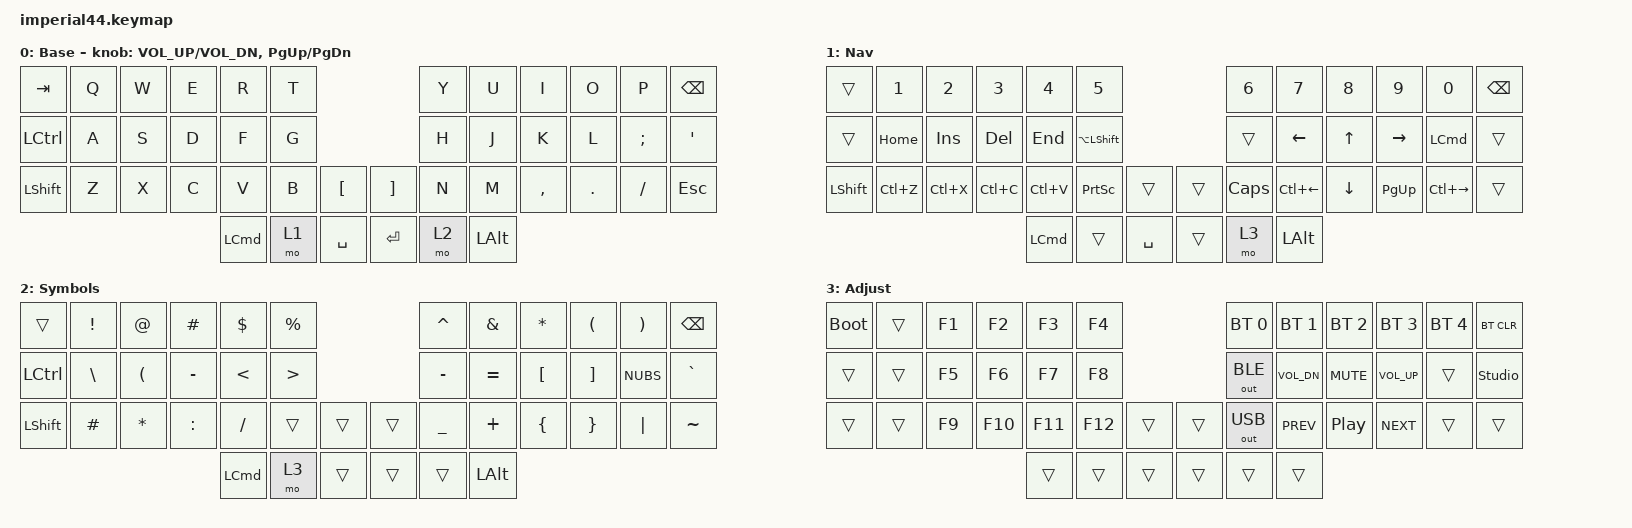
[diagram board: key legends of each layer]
#include "keys_ru.h"
#include <behaviors.dtsi>
#include <dt-bindings/zmk/bt.h>
#include <dt-bindings/zmk/keys.h>
#include <dt-bindings/zmk/outputs.h>

/ {
    keymap {
        compatible = "zmk,keymap";

        base {
            bindings = <
&kp TAB           &kp Q  &kp W  &kp E  &kp R             &kp T                          &kp Y  &kp U     &kp I      &kp O    &kp P     &kp BACKSPACE
&kp LEFT_CONTROL  &kp A  &kp S  &kp D  &kp F             &kp G                          &kp H  &kp J     &kp K      &kp L    &kp SEMI  &kp APOS
&kp LSHFT         &kp Z  &kp X  &kp C  &kp V             &kp B  &kp LBKT     &kp RBKT   &kp N  &kp M     &kp COMMA  &kp DOT  &kp FSLH  &kp ESC
                                       &kp LEFT_COMMAND  &mo 1  &kp SPACE    &kp ENTER  &mo 2  &kp LALT
            >;

            display-name = "Base";
            sensor-bindings =
                <&inc_dec_kp C_VOL_UP C_VOL_DN>,
                <&inc_dec_kp PG_UP PG_DN>;
        };

        nav {
            bindings = <
&trans          &kp N1     &kp N2     &kp N3      &kp N4            &kp N5                                &kp N6        &kp N7        &kp N8          &kp N9           &kp N0            &kp BACKSPACE
&trans          &kp HOME   &kp INS    &kp DELETE  &kp END           &kp LA(LSHFT)                         &trans        &kp LEFT      &kp UP          &kp RIGHT_ARROW  &kp LEFT_COMMAND  &trans
&kp LEFT_SHIFT  &kp LC(Z)  &kp LC(X)  &kp LC(C)   &kp LC(V)         &kp PRINTSCREEN  &trans       &trans  &kp CAPSLOCK  &kp LC(LEFT)  &kp DOWN_ARROW  &kp PG_UP        &kp LC(RIGHT)     &trans
                                                  &kp LEFT_COMMAND  &trans           &kp SPACE    &trans  &mo 3         &kp LEFT_ALT
            >;

            display-name = "Nav";
        };

        sym {
            bindings = <
&trans            &kp EXCL  &kp AT_SIGN  &kp HASH   &kp DOLLAR        &kp PRCNT                           &kp CARET  &kp AMPERSAND  &kp ASTRK         &kp LPAR           &kp RPAR  &kp BACKSPACE
&kp LEFT_CONTROL  &kp BSLH  &kp LPAR     &kp MINUS  &kp LESS_THAN     &kp GREATER_THAN                    &kp MINUS  &kp EQUAL      &kp LEFT_BRACKET  &kp RIGHT_BRACKET  &kp NUBS  &kp GRAVE
&kp LEFT_SHIFT    &kp HASH  &kp STAR     &kp COLON  &kp FSLH          &trans            &trans    &trans  &kp UNDER  &kp PLUS       &kp LEFT_BRACE    &kp RIGHT_BRACE    &kp PIPE  &kp TILDE
                                                    &kp LEFT_COMMAND  &mo 3             &trans    &trans  &trans     &kp LEFT_ALT
            >;

            display-name = "Symbols";
        };

        adj {
            bindings = <
&bootloader  &trans  &kp F1  &kp F2   &kp F3   &kp F4                     &bt BT_SEL 0  &bt BT_SEL 1  &bt BT_SEL 2      &bt BT_SEL 3  &bt BT_SEL 4  &bt BT_CLR
&trans       &trans  &kp F5  &kp F6   &kp F7   &kp F8                     &out OUT_BLE  &kp C_VOL_DN  &kp C_MUTE        &kp C_VOL_UP  &trans        &studio_unlock
&trans       &trans  &kp F9  &kp F10  &kp F11  &kp F12  &trans    &trans  &out OUT_USB  &kp C_PREV    &kp C_PLAY_PAUSE  &kp C_NEXT    &trans        &trans
                                      &trans   &trans   &trans    &trans  &trans        &trans
            >;

            display-name = "Adjust";
        };
    };
};
